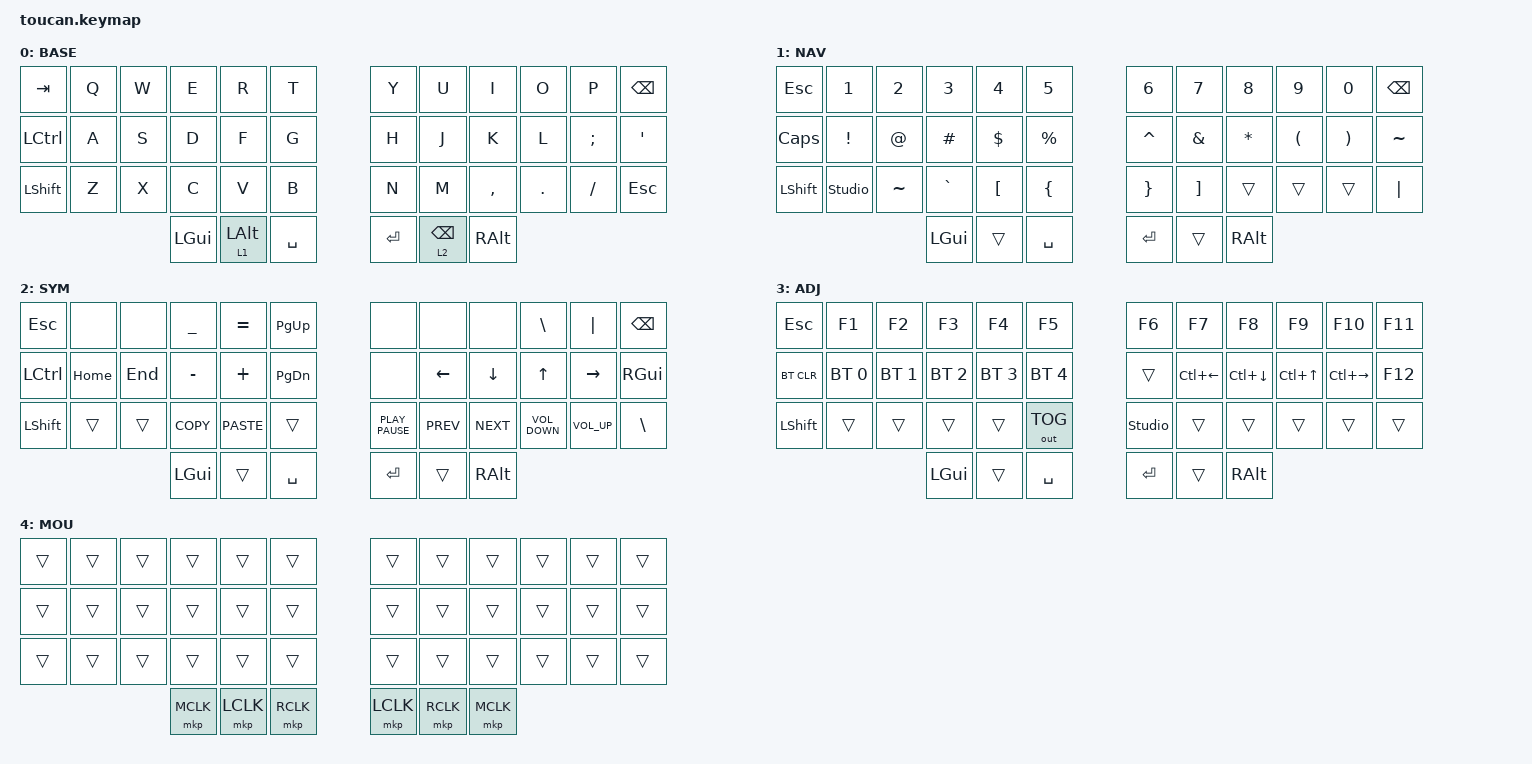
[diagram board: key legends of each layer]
#include <behaviors.dtsi>
#include <dt-bindings/zmk/keys.h>
#include <dt-bindings/zmk/bt.h>
#include <dt-bindings/zmk/outputs.h>
#include <dt-bindings/zmk/pointing.h>

#define BASE 0
#define NAV  1
#define SYM  2
#define ADJ  3
#define MOUSE 4

/ {
    conditional_layers {
        compatible = "zmk,conditional-layers";
        tri_layer {
            if-layers = <1 2>;
            then-layer = <3>;
        };
    };

    keymap {
        compatible = "zmk,keymap";

        base {
            display-name = "BASE";
            bindings = <
&kp TAB    &kp Q  &kp W  &kp E     &kp R       &kp T        &kp Y    &kp U            &kp I      &kp O    &kp P     &kp BSPC
&kp LCTRL  &kp A  &kp S  &kp D     &kp F       &kp G        &kp H    &kp J            &kp K      &kp L    &kp SEMI  &kp SQT
&kp LSHFT  &kp Z  &kp X  &kp C     &kp V       &kp B        &kp N    &kp M            &kp COMMA  &kp DOT  &kp FSLH  &kp ESC
                         &kp LGUI  &lt 1 LALT  &kp SPACE    &kp RET  &lt 2 BACKSPACE  &kp RALT
            >;
        };

        nav {
            display-name = "NAV";
            bindings = <
&kp ESC       &kp N1            &kp N2     &kp N3     &kp N4            &kp N5            &kp N6           &kp N7             &kp N8        &kp N9                &kp N0                 &kp BSPC
&kp CAPSLOCK  &kp EXCL          &kp AT     &kp HASH   &kp DOLLAR        &kp PERCENT       &kp CARET        &kp AMPERSAND      &kp ASTERISK  &kp LEFT_PARENTHESIS  &kp RIGHT_PARENTHESIS  &kp TILDE
&kp LSHFT     &studio_unlock    &kp TILDE  &kp GRAVE  &kp LEFT_BRACKET  &kp LEFT_BRACE    &kp RIGHT_BRACE  &kp RIGHT_BRACKET  &trans        &trans                &trans                 &kp PIPE
                                           &kp LGUI   &trans            &kp SPACE         &kp RET          &trans             &kp RALT
            >;
        };

        sym {
            display-name = "SYM";
            bindings = <
&kp ESC    &none     &none    &kp UNDER   &kp EQUAL    &kp PAGE_UP      &none             &none       &none       &kp BACKSLASH      &kp PIPE         &kp BSPC
&kp LCTRL  &kp HOME  &kp END  &kp MINUS   &kp PLUS     &kp PAGE_DOWN    &none             &kp LEFT    &kp DOWN    &kp UP_ARROW       &kp RIGHT        &kp RIGHT_GUI
&kp LSHFT  &trans    &trans   &kp K_COPY  &kp K_PASTE  &trans           &kp K_PLAY_PAUSE  &kp K_PREV  &kp K_NEXT  &kp C_VOLUME_DOWN  &kp C_VOLUME_UP  &kp BACKSLASH
                              &kp LGUI    &trans       &kp SPACE        &kp RET           &trans      &kp RALT
            >;
        };

        adj {
            display-name = "ADJ";
            bindings = <
&kp ESC     &kp F1        &kp F2        &kp F3        &kp F4        &kp F5          &kp F6           &kp F7        &kp F8        &kp F9            &kp F10        &kp F11
&bt BT_CLR  &bt BT_SEL 0  &bt BT_SEL 1  &bt BT_SEL 2  &bt BT_SEL 3  &bt BT_SEL 4    &trans           &kp LC(LEFT)  &kp LC(DOWN)  &kp LC(UP_ARROW)  &kp LC(RIGHT)  &kp F12
&kp LSHFT   &trans        &trans        &trans        &trans        &out OUT_TOG    &studio_unlock   &trans        &trans        &trans            &trans         &trans
                                        &kp LGUI      &trans        &kp SPACE       &kp RET          &trans        &kp RALT
            >;
        };

        mouse {
            display-name = "MOU";
            bindings = <
&trans  &trans  &trans  &trans  &trans  &trans    &trans  &trans  &trans  &trans  &trans  &trans
&trans  &trans  &trans  &trans  &trans  &trans    &trans  &trans  &trans  &trans  &trans  &trans
&trans  &trans  &trans  &trans  &trans  &trans    &trans  &trans  &trans  &trans  &trans  &trans
                        &mkp MCLK  &mkp LCLK  &mkp RCLK    &mkp LCLK  &mkp RCLK  &mkp MCLK
            >;
        };

        extra_1 {
                status = "reserved";
        };

        extra_2 {
                status = "reserved";
        };

        extra_3 {
                status = "reserved";
        };
    };
};
